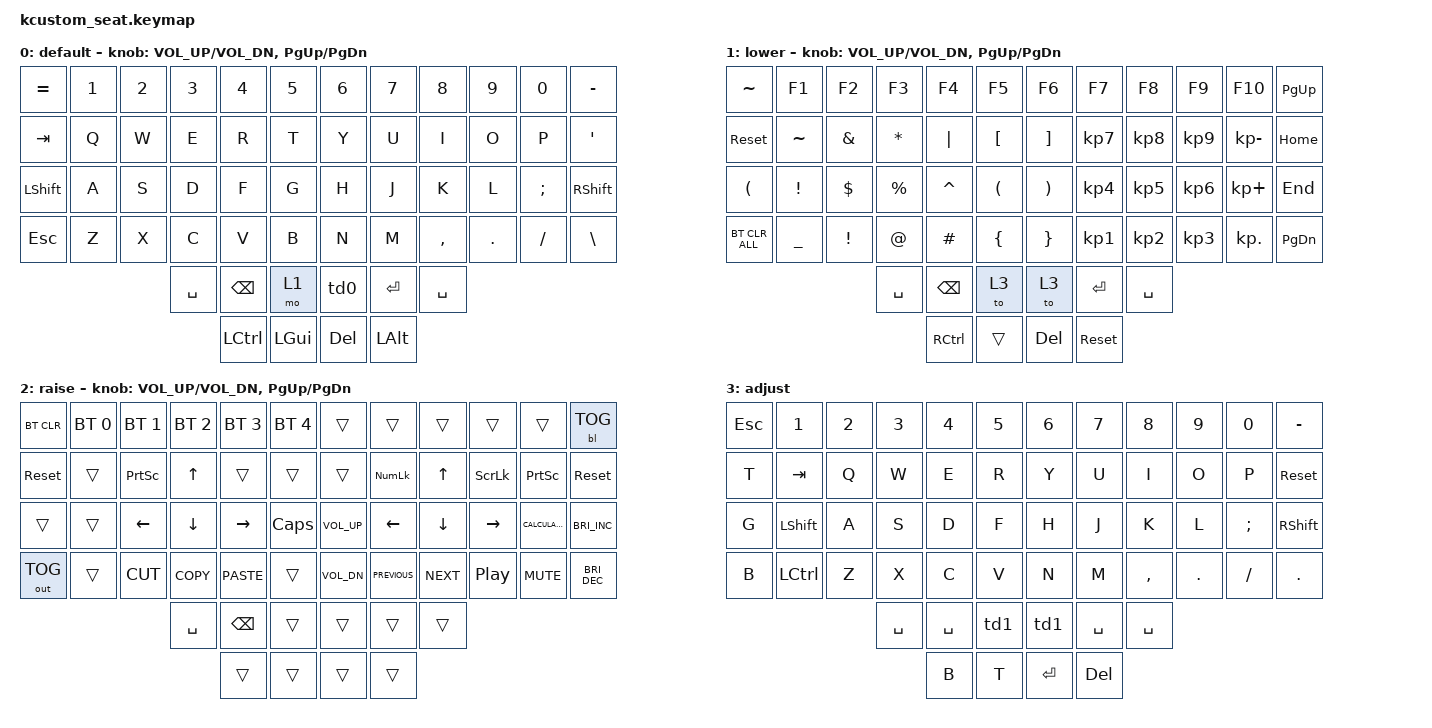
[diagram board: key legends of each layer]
/*
 * Copyright (c) 2020 The ZMK Contributors
 *
 * SPDX-License-Identifier: MIT
 */

#include <behaviors.dtsi>
#include <dt-bindings/zmk/backlight.h>
#include <dt-bindings/zmk/bt.h>
#include <dt-bindings/zmk/ext_power.h>
#include <dt-bindings/zmk/keys.h>
#include <dt-bindings/zmk/outputs.h>
#include <dt-bindings/zmk/mouse.h>
#include <behaviors/mouse_keys.dtsi>

#define BASE 0
#define LOWER 1
#define RAISE 2
#define ADJUST 3

/ {
    behaviors {
        td0: tap_dance_0 {
            compatible = "zmk,behavior-tap-dance";
            #binding-cells = <0>;
            tapping-term-ms = <400>;
            bindings = <&mo 2>, <&none>, <&none>, <&to 3>;
        };

        td1: tap_dance_1 {
            compatible = "zmk,behavior-tap-dance";
            #binding-cells = <0>;
            tapping-term-ms = <400>;
            bindings = <&none>, <&to 0>;
        };
    };

    /* START input behaviour for trackball */

    tb0_mmv_ibl {
        /* new forked compatible name */

        compatible = "zmk,input-behavior-listener";

        /* the input point device alias */

        device = <&trackball>;

        /* only enable in mouse key layer */

        layers = <1>;

        /* event code value to override raw input event */
        /* designed for switching to mouse scroll, xy-swap, precise-mode+, etc */
        /* NOTE: only apply input-code overriding for INPUT_EV_REL */

        evt-type = <INPUT_EV_REL>;
        x-input-code = <INPUT_REL_X>;
        y-input-code = <INPUT_REL_Y>;
        scale-multiplier = <1>;
        scale-divisor = <1>;

        /* bind a behavior to auto activate MSK layer for &mkp */
        /* bindings = <&ib_tog_layer 4>; */
        /* align to CCW 45 degree */
        /* rotate-deg = <315>; */
        /* NOTE 1: This settings do not compitable with y-invert and x-invert */
        /* NOTE 2: Floating point computation requires alot of ram. */
        /*         This feature will cuase stackove flow with CONFIG_ZMK_USB_LOGGING=y */
    };

    keymap {
        compatible = "zmk,keymap";

        default_layer {
            display-name = "default";

            // ------------------------------------------------------------------------------------------------------------
            // |   `   |  1  |  2  |  3   |  4   |  5   |                   |  6   |  7    |     8      |  9      |   0    |  BKSP |
            // |  TAB  |  Q  |  W  |  F   |  P   |  B   |                   |  J   |  L    |     U      |  Y      |   ;    |   [   |
            // |  ESC  |  A  |  R  |  S   |  T   |  G   |                   |  M   |  N    |     E      |  I      |   O    |   '   |
            // | SHIFT |  Z  |  X  |  C   |  D   |  V   |                   |  K   |  H    |     ,      |  .      |   /    | SHIFT |
            //                     | ENTR | SPACE| LOWR |                   | RAISE| BSPC  |    RCMD    |
            //                            | CTRL | ALT  |                   | CTRL | ALT  | 

            bindings = <
&kp EQUAL       &kp N1  &kp N2  &kp N3     &kp N4     &kp N5      &kp N6   &kp N7    &kp N8     &kp N9   &kp N0     &kp MINUS
&kp TAB         &kp Q   &kp W   &kp E      &kp R      &kp T       &kp Y    &kp U     &kp I      &kp O    &kp P      &kp SQT
&kp LEFT_SHIFT  &kp A   &kp S   &kp D      &kp F      &kp G       &kp H    &kp J     &kp K      &kp L    &kp SEMI   &kp RIGHT_SHIFT
&kp ESCAPE      &kp Z   &kp X   &kp C      &kp V      &kp B       &kp N    &kp M     &kp COMMA  &kp DOT  &kp SLASH  &kp BACKSLASH
                                &kp SPACE  &kp BSPC   &mo 1       &td0     &kp RET   &kp SPACE
                                           &kp LCTRL  &kp LGUI    &kp DEL  &kp LALT
            >;

            sensor-bindings = <&inc_dec_kp C_VOL_UP C_VOL_DN &inc_dec_kp PG_UP PG_DN>;
        };

        lower_layer {
            display-name = "lower";

            // TODO: Some binds are waiting for shifted keycode support.
            // ------------------------------------------------------------------------------------------------------------
            // |       |  F1 |  F2 |  F3  |  F4  |  F5  |                   |  F6  |  F7   |  F8   |  F9  |  F10  |  F11  |
            // |   `   |  1  |  2  |  3   |  4   |  5   |                   |  6   |  7    |  8    |  9   |   0   |  F12  |
            // |       |  !  |  @  |  #   |  $   |  %   |                   |  ^   |  &    |  *    |  (   |   )   |   |   |
            // |       |  =  |  -  |  +   |  {   |  }   |        |  |       |  [   |  ]    |  ;    |  :   |   \   |       |
            //               |     |      |      |      |        |  |       |      |       |       |      |

            bindings = <
&kp TILDE       &kp F1     &kp F2         &kp F3        &kp F4         &kp F5                  &kp F6                 &kp F7           &kp F8           &kp F9           &kp F10          &kp PAGE_UP
&sys_reset      &kp TILDE  &kp AMPERSAND  &kp ASTERISK  &kp PIPE       &kp LEFT_BRACKET        &kp RIGHT_BRACKET      &kp KP_NUMBER_7  &kp KP_NUMBER_8  &kp KP_NUMBER_9  &kp KP_SUBTRACT  &kp HOME
&kp LPAR        &kp EXCL   &kp DOLLAR     &kp PERCENT   &kp CARET      &kp LEFT_PARENTHESIS    &kp RIGHT_PARENTHESIS  &kp KP_NUMBER_4  &kp KP_NUMBER_5  &kp KP_NUMBER_6  &kp KP_PLUS      &kp END
&bt BT_CLR_ALL  &kp UNDER  &kp EXCL       &kp AT        &kp HASH       &kp LEFT_BRACE          &kp RIGHT_BRACE        &kp KP_NUMBER_1  &kp KP_NUMBER_2  &kp KP_NUMBER_3  &kp KP_DOT       &kp PAGE_DOWN
                                          &kp SPACE     &kp BACKSPACE  &to 3                   &to 3                  &kp ENTER        &kp SPACE
                                                        &kp RCTRL      &trans                  &kp DELETE             &sys_reset
            >;

            sensor-bindings = <&inc_dec_kp C_VOL_UP C_VOL_DN &inc_dec_kp PG_UP PG_DN>;
        };

        raise_layer {
            display-name = "raise";

            // ------------------------------------------------------------------------------------------------------------
            // | BTCLR | BT1  | BT2  |  BT3  |  BT4  |  BT5 |                |      |      |       |      |       |       |
            // |       | INS  | PSCR | GUI   |       |      |                | PGUP |      |   ^   |      |       |       |
            // |       | ALT  | CTRL | SHIFT |       | CAPS |                | PGDN |   <- |   v   |  ->  |  DEL  | BKSPC |
            // |       | UNDO | CUT  | COPY  | PASTE |      |      |  |      |      |      |       |      |       |       |
            //                |      |       |       |      |      |  |      |      |      |       |      |

            bindings = <
&bt BT_CLR    &bt BT_SEL 0  &bt BT_SEL 1  &bt BT_SEL 2  &bt BT_SEL 3   &bt BT_SEL 4    &trans           &trans          &trans      &trans            &trans            &bl BL_TOG
&sys_reset    &trans        &kp PSCRN     &kp UP        &trans         &trans          &trans           &kp KP_NUMLOCK  &kp UP      &kp SCROLLLOCK    &kp PRINTSCREEN   &sys_reset
&trans        &trans        &kp LEFT      &kp DOWN      &kp RIGHT      &kp CLCK        &kp C_VOLUME_UP  &kp LEFT        &kp DOWN    &kp RIGHT         &kp K_CALCULATOR  &kp C_BRIGHTNESS_INC
&out OUT_TOG  &trans        &kp K_CUT     &kp K_COPY    &kp K_PASTE    &trans          &kp C_VOL_DN     &kp C_PREVIOUS  &kp C_NEXT  &kp C_PLAY_PAUSE  &kp K_MUTE        &kp C_BRIGHTNESS_DEC
                                          &kp SPACE     &kp BACKSPACE  &trans          &trans           &trans          &trans
                                                        &trans         &trans          &trans           &trans
            >;

            sensor-bindings = <&inc_dec_kp C_VOL_UP C_VOL_DN &inc_dec_kp PG_UP PG_DN>;
        };

        adjust_layer {
            // ----------------------------------------------------------------------------------------------------------------------------
            // | BTCLR  |  BT1    |  BT2    |   BT3   |   BT4   |   BT5   |                  |      |      |       |      |       |       |
            // | EXTPWR | RGB_HUD | RGB_HUI | RGB_SAD | RGB_SAI | RGB_EFF |                  |      |      |       |      |       |       |
            // |        | RGB_BRD | RGB_BRI |         |         |         |                  |      |      |       |      |       |       |
            // |        |         |         |         |         |         | RGB_TOG | |      |      |      |       |      |       |       |
            //                    |         |         |         |         |         | |      |      |      |       |      |

            display-name = "adjust";
            bindings = <
&kp ESCAPE  &kp N1            &kp N2  &kp N3     &kp N4     &kp N5    &kp N6     &kp N7      &kp N8     &kp N9      &kp N0     &kp MINUS
&kp T       &kp TAB           &kp Q   &kp W      &kp E      &kp R     &kp Y      &kp U       &kp I      &kp O       &kp P      &sys_reset
&kp G       &kp LEFT_SHIFT    &kp A   &kp S      &kp D      &kp F     &kp H      &kp J       &kp K      &kp L       &kp SEMI   &kp RIGHT_SHIFT
&kp B       &kp LEFT_CONTROL  &kp Z   &kp X      &kp C      &kp V     &kp N      &kp M       &kp COMMA  &kp PERIOD  &kp SLASH  &kp DOT
                                      &kp SPACE  &kp SPACE  &td1      &td1       &kp SPACE   &kp SPACE
                                                 &kp B      &kp T     &kp ENTER  &kp DELETE
            >;
        };
    };
};
